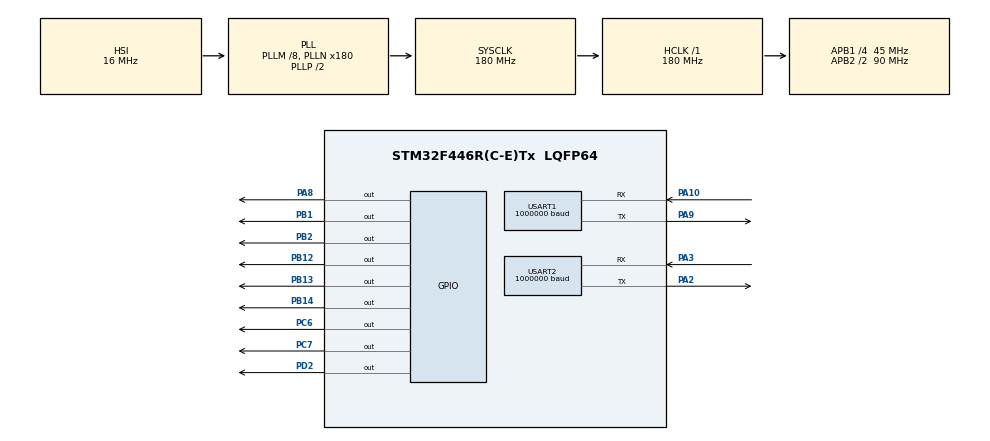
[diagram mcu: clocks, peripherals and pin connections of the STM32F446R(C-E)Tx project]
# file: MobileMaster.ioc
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Dma.Request0=USART1_RX
Dma.Request1=USART1_TX
Dma.Request2=USART2_RX
Dma.Request3=USART2_TX
Dma.USART1_RX.0.Direction=DMA_PERIPH_TO_MEMORY
Dma.USART1_RX.0.FIFOMode=DMA_FIFOMODE_DISABLE
Dma.USART1_RX.0.Instance=DMA2_Stream2
Dma.USART1_RX.0.MemDataAlignment=DMA_MDATAALIGN_BYTE
Dma.USART1_RX.0.MemInc=DMA_MINC_ENABLE
Dma.USART1_RX.0.Mode=DMA_NORMAL
Dma.USART1_RX.0.PeriphDataAlignment=DMA_PDATAALIGN_BYTE
Dma.USART1_RX.0.PeriphInc=DMA_PINC_DISABLE
Dma.USART1_RX.0.Priority=DMA_PRIORITY_LOW
Dma.USART1_TX.1.Direction=DMA_MEMORY_TO_PERIPH
Dma.USART1_TX.1.FIFOMode=DMA_FIFOMODE_DISABLE
Dma.USART1_TX.1.Instance=DMA2_Stream7
Dma.USART1_TX.1.MemDataAlignment=DMA_MDATAALIGN_BYTE
Dma.USART1_TX.1.MemInc=DMA_MINC_ENABLE
Dma.USART1_TX.1.Mode=DMA_NORMAL
Dma.USART1_TX.1.PeriphDataAlignment=DMA_PDATAALIGN_BYTE
Dma.USART1_TX.1.PeriphInc=DMA_PINC_DISABLE
Dma.USART1_TX.1.Priority=DMA_PRIORITY_LOW
Dma.USART2_RX.2.Direction=DMA_PERIPH_TO_MEMORY
Dma.USART2_RX.2.FIFOMode=DMA_FIFOMODE_DISABLE
Dma.USART2_RX.2.Instance=DMA1_Stream5
Dma.USART2_RX.2.MemDataAlignment=DMA_MDATAALIGN_BYTE
Dma.USART2_RX.2.MemInc=DMA_MINC_ENABLE
Dma.USART2_RX.2.Mode=DMA_NORMAL
Dma.USART2_RX.2.PeriphDataAlignment=DMA_PDATAALIGN_BYTE
Dma.USART2_RX.2.PeriphInc=DMA_PINC_DISABLE
Dma.USART2_RX.2.Priority=DMA_PRIORITY_LOW
Dma.USART2_TX.3.Direction=DMA_MEMORY_TO_PERIPH
Dma.USART2_TX.3.FIFOMode=DMA_FIFOMODE_DISABLE
Dma.USART2_TX.3.Instance=DMA1_Stream6
Dma.USART2_TX.3.MemDataAlignment=DMA_MDATAALIGN_BYTE
Dma.USART2_TX.3.MemInc=DMA_MINC_ENABLE
Dma.USART2_TX.3.Mode=DMA_NORMAL
Dma.USART2_TX.3.PeriphDataAlignment=DMA_PDATAALIGN_BYTE
Dma.USART2_TX.3.PeriphInc=DMA_PINC_DISABLE
Dma.USART2_TX.3.Priority=DMA_PRIORITY_LOW
Mcu.Family=STM32F4
Mcu.Name=STM32F446R(C-E)Tx
Mcu.Package=LQFP64
NVIC.DMA1_Stream5_IRQn=true\:0\:0\:false\:false\:true\:false\:true
NVIC.DMA1_Stream6_IRQn=true\:0\:0\:false\:false\:true\:false\:true
NVIC.DMA2_Stream2_IRQn=true\:0\:0\:false\:false\:true\:false\:true
NVIC.DMA2_Stream7_IRQn=true\:0\:0\:false\:false\:true\:false\:true
NVIC.PriorityGroup=NVIC_PRIORITYGROUP_4
NVIC.TIM6_DAC_IRQn=true\:1\:0\:true\:false\:true\:true\:true
NVIC.USART1_IRQn=true\:0\:0\:false\:false\:true\:true\:true
NVIC.USART2_IRQn=true\:0\:0\:false\:false\:true\:true\:true
PA10.Mode=Asynchronous
PA10.Signal=USART1_RX
PA13.Signal=SYS_JTMS-SWDIO
PA14.Signal=SYS_JTCK-SWCLK
PA2.Mode=Asynchronous
PA2.Signal=USART2_TX
PA3.Mode=Asynchronous
PA3.Signal=USART2_RX
PA8.Signal=GPIO_Output
PA9.GPIO_Speed=GPIO_SPEED_FREQ_VERY_HIGH
PA9.Mode=Asynchronous
PA9.Signal=USART1_TX
PB1.PinState=GPIO_PIN_RESET
PB1.Signal=GPIO_Output
PB12.Signal=GPIO_Output
PB13.Signal=GPIO_Output
PB14.Signal=GPIO_Output
PB2.PinState=GPIO_PIN_SET
PB2.Signal=GPIO_Output
PC6.PinState=GPIO_PIN_SET
PC6.Signal=GPIO_Output
PC7.PinState=GPIO_PIN_SET
PC7.Signal=GPIO_Output
PD2.Signal=GPIO_Output
PH0-OSC_IN.Mode=HSE-External-Oscillator
PH0-OSC_IN.Signal=RCC_OSC_IN
PH1-OSC_OUT.Mode=HSE-External-Oscillator
PH1-OSC_OUT.Signal=RCC_OSC_OUT
ProjectManager.HeapSize=0x200
ProjectManager.StackSize=0x400
ProjectManager.TargetToolchain=STM32CubeIDE
RCC.AHBFreq_Value=180000000
RCC.APB1CLKDivider=RCC_HCLK_DIV4
RCC.APB1Freq_Value=45000000
RCC.APB1TimCLKDivider=2
RCC.APB1TimFreq_Value=90000000
RCC.APB2CLKDivider=RCC_HCLK_DIV2
RCC.APB2Freq_Value=90000000
RCC.APB2TimCLKDivider=2
RCC.APB2TimFreq_Value=180000000
RCC.CortexFreq_Value=180000000
RCC.HCLKFreq_Value=180000000
RCC.HSE_VALUE=16000000
RCC.PLLM=8
RCC.PLLN=180
RCC.SYSCLKFreq_VALUE=180000000
RCC.SYSCLKSource=RCC_SYSCLKSOURCE_PLLCLK
RCC.USBFreq_Value=180000000
RCC.VCOOutputFreq_Value=360000000
TIM6.Period=1000-1
TIM6.Prescaler=90-1
USART1.BaudRate=1000000
USART1.StopBits=STOPBITS_1
USART1.VirtualMode=VM_ASYNC
USART1.WordLength=WORDLENGTH_8B
USART2.BaudRate=1000000
USART2.VirtualMode=VM_ASYNC
VP_TIM6_VS_ClockSourceINT.Mode=Enable_Timer
board=custom

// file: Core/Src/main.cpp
/* USER CODE BEGIN Header */
/**
 ******************************************************************************
 * @file           : main.cpp
 * @brief          : Main program body
 ******************************************************************************
 * @attention
 *
 * <h2><center>&copy; Copyright (c) 2021 STMicroelectronics.
 * All rights reserved.</center></h2>
 *
 * This software component is licensed by ST under BSD 3-Clause license,
 * the "License"; You may not use this file except in compliance with the
 * License. You may obtain a copy of the License at:
 *                        opensource.org/licenses/BSD-3-Clause
 *
 ******************************************************************************
 */
/* USER CODE END Header */
#include "main.h"
#include "dma.h"
#include "tim.h"
#include "usart.h"
#include "gpio.h"

/* USER CODE BEGIN Includes */
#define DELAY_BETWEEN_DXL_PACKET 0.003 //0.01:20Hz
#include "../../ScueDK/scuedk_embedded/master/MasterSerialLine.h"
#include "../../ScueDK/structs/structs.h"
#include "../../Sequence/inc/sequence.h"

using namespace scue;
using namespace seq;
/* USER CODE END Includes */

/* USER CODE BEGIN PV */

int loopCnt;
int sequenceCnt=0;
double currentTime;
uint8_t uart1RxBuffer;
uint8_t uart2RxBuffer;
MasterSerialLine serial;
bool manipulatorRelay = true, baseRelay = true;
Master m;
vector<uint8_t> packet;

/* USER CODE END PV */

void SystemClock_Config(void);

int main(void)
{
  /* USER CODE BEGIN 1 */
	initMaster(&m);

	Sequence initSequence
	(
		"initDxl",
		make_shared<block::Function>([&]
		{
			serial.setActive(false);
			initManipulator(&m.manipulator);
		}),
		make_shared<block::Function>([&]
		{
			//set MX64 velocity profile to non-zero value to enable acceleration profile
			packet.clear();
			packet.push_back(0xFF);
			packet.push_back(0xFF);
			packet.push_back(0xFD);
			packet.push_back(0x00);
			packet.push_back(0xFE);
			packet.push_back(0);	//length placeholder. valid value is set by setLength()
			packet.push_back(0);	//length placeholder. valid value is set by setLength()
			packet.push_back(0x93);
			//id13
			packet.push_back(13);
			packet.push_back(112);
			packet.push_back(0);
			packet.push_back(4);
			packet.push_back(0);
			Util::attachByteArray(packet, 32767, 4);
			//id14
			packet.push_back(14);
			packet.push_back(112);
			packet.push_back(0);
			packet.push_back(4);
			packet.push_back(0);
			Util::attachByteArray(packet, 32767, 4);
			//id15
			packet.push_back(15);
			packet.push_back(112);
			packet.push_back(0);
			packet.push_back(4);
			packet.push_back(0);
			Util::attachByteArray(packet, 32767, 4);

			Util::setLength(packet);
			Util::attachCRC(packet);
			HAL_UART_Transmit(&huart2, &packet[0], packet.size(),1);
		}),
		make_shared<block::Delay>(DELAY_BETWEEN_DXL_PACKET),
		make_shared<block::Function>([&]
		{
			//enable mx64s' torque
			packet.clear();
			packet.push_back(0xFF);
			packet.push_back(0xFF);
			packet.push_back(0xFD);
			packet.push_back(0x00);
			packet.push_back(0xFE);
			packet.push_back(0);	//length placeholder. valid value is set by setLength()
			packet.push_back(0);	//length placeholder. valid value is set by setLength()
			packet.push_back(0X93);
			//id10
			packet.push_back(10);
			packet.push_back(0);
			packet.push_back(2);
			packet.push_back(1);
			packet.push_back(0);
			packet.push_back(1);
			//id11
			packet.push_back(11);
			packet.push_back(0);
			packet.push_back(2);
			packet.push_back(1);
			packet.push_back(0);
			packet.push_back(1);
			//id12
			packet.push_back(12);
			packet.push_back(0);
			packet.push_back(2);
			packet.push_back(1);
			packet.push_back(0);
			packet.push_back(1);
			//id13
			packet.push_back(13);
			packet.push_back(64);
			packet.push_back(0);
			packet.push_back(1);
			packet.push_back(0);
			packet.push_back(1);
			//id14
			packet.push_back(14);
			packet.push_back(64);
			packet.push_back(0);
			packet.push_back(1);
			packet.push_back(0);
			packet.push_back(1);
			//id15
			packet.push_back(15);
			packet.push_back(64);
			packet.push_back(0);
			packet.push_back(1);
			packet.push_back(0);
			packet.push_back(1);
			//id16
			packet.push_back(16);
			packet.push_back(64);
			packet.push_back(0);
			packet.push_back(1);
			packet.push_back(0);
			packet.push_back(1);

			Util::setLength(packet);
			Util::attachCRC(packet);
			HAL_UART_Transmit(&huart2, &packet[0], packet.size(),1);
		}),
		make_shared<block::Delay>(DELAY_BETWEEN_DXL_PACKET),
		make_shared<block::StartSequence>("dxl")
	);

	initSequence.compile();
	initSequence.start();

	Sequence dxlSequence
	(
		"dxl",
		make_shared<block::Function>([&]
		{
			serial.setActive(false);
		}),
		make_shared<block::Function>([&]
		{
			//set pro acceleration
			packet.clear();
			packet.push_back(0xFF);
			packet.push_back(0xFF);
			packet.push_back(0xFD);
			packet.push_back(0x00);
			packet.push_back(0xFE);
			packet.push_back(0);	//length placeholder. valid value is set by setLength()
			packet.push_back(0);	//length placeholder. valid value is set by setLength()
			packet.push_back(0x93);
			//id10
			packet.push_back(10);
			packet.push_back(0x2C);
			packet.push_back(0x02);
			packet.push_back(4);
			packet.push_back(0);
			Util::attachByteArray(packet, m.manipulator.targetAcceleration[0]*9.549296596425384, 4);
			//id11
			packet.push_back(11);
			packet.push_back(0x2C);
			packet.push_back(0x02);
			packet.push_back(4);
			packet.push_back(0);
			Util::attachByteArray(packet, m.manipulator.targetAcceleration[1]*9.549296596425384, 4);
			//id12
			packet.push_back(12);
			packet.push_back(0x2C);
			packet.push_back(0x02);
			packet.push_back(4);
			packet.push_back(0);
			Util::attachByteArray(packet, m.manipulator.targetAcceleration[2]*9.549296596425384, 4);

			Util::setLength(packet);
			Util::attachCRC(packet);
			HAL_UART_Transmit(&huart2, &packet[0], packet.size(),1);
		}),
		make_shared<block::Delay>(DELAY_BETWEEN_DXL_PACKET),
		make_shared<block::Function>([&]
		{
			//set MX64 acceleration
			packet.clear();
			packet.push_back(0xFF);
			packet.push_back(0xFF);
			packet.push_back(0xFD);
			packet.push_back(0x00);
			packet.push_back(0xFE);
			packet.push_back(0);	//length placeholder. valid value is set by setLength()
			packet.push_back(0);	//length placeholder. valid value is set by setLength()
			packet.push_back(0x93);
			//id13
			packet.push_back(13);
			packet.push_back(0X6C);
			packet.push_back(0);
			packet.push_back(4);
			packet.push_back(0);
			Util::attachByteArray(packet, m.manipulator.targetAcceleration[3], 4);
			//id14
			packet.push_back(14);
			packet.push_back(0x6C);
			packet.push_back(0);
			packet.push_back(4);
			packet.push_back(0);
			Util::attachByteArray(packet, m.manipulator.targetAcceleration[4], 4);
			//id15
			packet.push_back(15);
			packet.push_back(0X6C);
			packet.push_back(0);
			packet.push_back(4);
			packet.push_back(0);
			Util::attachByteArray(packet, m.manipulator.targetAcceleration[5], 4);

			Util::setLength(packet);
			Util::attachCRC(packet);
			HAL_UART_Transmit(&huart2, &packet[0], packet.size(),1);
		}),
		make_shared<block::Delay>(DELAY_BETWEEN_DXL_PACKET),
		make_shared<block::Function>([&]
		{
			//bulk write to mx64s
			packet.clear();
			packet.push_back(0xFF);
			packet.push_back(0xFF);
			packet.push_back(0xFD);
			packet.push_back(0x00);
			packet.push_back(0xFE);
			packet.push_back(0);	//length placeholder. valid value is set by setLength()
			packet.push_back(0);	//length placeholder. valid value is set by setLength()
			packet.push_back(0x93);
			//id13
			packet.push_back(13);
			packet.push_back(116);
			packet.push_back(0);
			packet.push_back(4);
			packet.push_back(0);
			Util::attachByteArray(packet, (int)Util::map(m.manipulator.targetPosition[3], -90, 90, 1024, 3072), 4);
			//id14
			packet.push_back(14);
			packet.push_back(116);
			packet.push_back(0);
			packet.push_back(4);
			packet.push_back(0);
			Util::attachByteArray(packet, (int)Util::map(m.manipulator.targetPosition[4], -90, 90, 1024, 3072), 4);
			//id15
			packet.push_back(15);
			packet.push_back(116);
			packet.push_back(0);
			packet.push_back(4);
			packet.push_back(0);
			Util::attachByteArray(packet, (int)Util::map(m.manipulator.targetPosition[5], -90, 90, 1024, 3072), 4);
			//id16 : gripper
			packet.push_back(16);
			packet.push_back(102);
			packet.push_back(0);
			packet.push_back(2);
			packet.push_back(0);
			Util::attachByteArray(packet, (int)Util::map(m.manipulator.gripperTargetCurrent, -4, 4, -1193 , 1193), 4);

			Util::setLength(packet);
			Util::attachCRC(packet);
			HAL_UART_Transmit(&huart2, &packet[0], packet.size(),1);
		}),
		make_shared<block::Delay>(DELAY_BETWEEN_DXL_PACKET),
		make_shared<block::Function>([&]
		{
			//bulk write to pros
			packet.clear();
			packet.push_back(0xFF);
			packet.push_back(0xFF);
			packet.push_back(0xFD);
			packet.push_back(0x00);
			packet.push_back(0xFE);
			packet.push_back(0);	//length placeholder. valid value is set by setLength()
			packet.push_back(0);	//length placeholder. valid value is set by setLength()
			packet.push_back(0x93);
			//id10
			packet.push_back(10);
			packet.push_back(0x34);
			packet.push_back(0x02);
			packet.push_back(4);
			packet.push_back(0);
			Util::attachByteArray(packet, (int)Util::map(m.manipulator.targetPosition[0], -180, 180, -251417, 251417), 4);
			//id11
			packet.push_back(11);
			packet.push_back(0x34);
			packet.push_back(0x02);
			packet.push_back(4);
			packet.push_back(0);
			Util::attachByteArray(packet, (int)Util::map(m.manipulator.targetPosition[1], -180, 180, -501923, 501923), 4);
			//id12
			packet.push_back(12);
			packet.push_back(0x34);
			packet.push_back(0x02);
			packet.push_back(4);
			packet.push_back(0);
			Util::attachByteArray(packet, (int)Util::map(m.manipulator.targetPosition[2], -180, 180, -501923, 501923), 4);

			Util::setLength(packet);
			Util::attachCRC(packet);
			HAL_UART_Transmit(&huart2, &packet[0], packet.size(),1);
		}),
		make_shared<block::Delay>(DELAY_BETWEEN_DXL_PACKET),
		make_shared<block::Function>([&]
		{
			serial.setActive(true);
			serial.jumpToUplink();
			sequenceCnt++;
		})
	);

	dxlSequence.compile();

	serial.setExternalCallback([&]
	{
		Sequence* dxmseq = Sequence::getSequenceByName("dxl");
		if(dxmseq!=nullptr && !dxmseq->isRunning())dxmseq->start();
	});

	serial.setCycleCallback([&]
	{
		if(m.masterTweak.initManipulatorTrigger)
		{
			m.masterTweak.initManipulatorTrigger = false;
			Sequence* initDxlSeq = Sequence::getSequenceByName("initDxl");
			if(initDxlSeq!=nullptr && !initDxlSeq->isRunning()) initDxlSeq->start();
		}
	});
  /* USER CODE END 1 */

  /* MCU Configuration--------------------------------------------------------*/

  /* Reset of all peripherals, Initializes the Flash interface and the Systick. */
  HAL_Init();

  /* Configure the system clock */
  SystemClock_Config();

  /* Initialize all configured peripherals */
  MX_GPIO_Init();
  MX_DMA_Init();
  MX_USART1_UART_Init();
  MX_TIM6_Init();
  MX_USART2_UART_Init();
  /* USER CODE BEGIN 2 */
	serial.init((uint8_t*)&m,sizeof(Master), 1, &huart1, &huart2);
	serial.addSlave(MasterSerialLine::Slave(1, (uint8_t*)&m.flipperController - (uint8_t*)&m, sizeof(m.flipperController), false));
	serial.addSlave(MasterSerialLine::Slave(2, (uint8_t*)&m.trackController - (uint8_t*)&m, sizeof(m.trackController), false));
	serial.addSlave(MasterSerialLine::Slave(3, (uint8_t*)&m.manipulator - (uint8_t*)&m, sizeof(m.manipulator), true));
	serial.addSlave(MasterSerialLine::Slave(4, (uint8_t*)&m.masterTweak - (uint8_t*)&m, sizeof(m.masterTweak), true));

	HAL_UART_Receive_DMA(&huart1, &uart1RxBuffer, 1);
	HAL_UART_Receive_DMA(&huart2, &uart2RxBuffer, 1);
	HAL_TIM_Base_Start_IT(&htim6);

  /* USER CODE END 2 */

  /* Infinite loop */
	while (1)
	{

    /* USER CODE BEGIN 3 */
		//HAL_UART_Receive_DMA(&huart3, &rxBuffer, 1);
	}
  /* USER CODE END 3 */
}

void SystemClock_Config(void)
{
  RCC_OscInitTypeDef RCC_OscInitStruct = {0};
  RCC_ClkInitTypeDef RCC_ClkInitStruct = {0};

  /** Configure the main internal regulator output voltage
  */
  __HAL_RCC_PWR_CLK_ENABLE();
  __HAL_PWR_VOLTAGESCALING_CONFIG(PWR_REGULATOR_VOLTAGE_SCALE1);
  /** Initializes the RCC Oscillators according to the specified parameters
  * in the RCC_OscInitTypeDef structure.
  */
  RCC_OscInitStruct.OscillatorType = RCC_OSCILLATORTYPE_HSI;
  RCC_OscInitStruct.HSIState = RCC_HSI_ON;
  RCC_OscInitStruct.HSICalibrationValue = RCC_HSICALIBRATION_DEFAULT;
  RCC_OscInitStruct.PLL.PLLState = RCC_PLL_ON;
  RCC_OscInitStruct.PLL.PLLSource = RCC_PLLSOURCE_HSI;
  RCC_OscInitStruct.PLL.PLLM = 8;
  RCC_OscInitStruct.PLL.PLLN = 180;
  RCC_OscInitStruct.PLL.PLLP = RCC_PLLP_DIV2;
  RCC_OscInitStruct.PLL.PLLQ = 2;
  RCC_OscInitStruct.PLL.PLLR = 2;
  if (HAL_RCC_OscConfig(&RCC_OscInitStruct) != HAL_OK)
  {
    Error_Handler();
  }
  /** Activate the Over-Drive mode
  */
  if (HAL_PWREx_EnableOverDrive() != HAL_OK)
  {
    Error_Handler();
  }
  /** Initializes the CPU, AHB and APB buses clocks
  */
  RCC_ClkInitStruct.ClockType = RCC_CLOCKTYPE_HCLK|RCC_CLOCKTYPE_SYSCLK
                              |RCC_CLOCKTYPE_PCLK1|RCC_CLOCKTYPE_PCLK2;
  RCC_ClkInitStruct.SYSCLKSource = RCC_SYSCLKSOURCE_PLLCLK;
  RCC_ClkInitStruct.AHBCLKDivider = RCC_SYSCLK_DIV1;
  RCC_ClkInitStruct.APB1CLKDivider = RCC_HCLK_DIV4;
  RCC_ClkInitStruct.APB2CLKDivider = RCC_HCLK_DIV2;

  if (HAL_RCC_ClockConfig(&RCC_ClkInitStruct, FLASH_LATENCY_5) != HAL_OK)
  {
    Error_Handler();
  }
}

/* USER CODE BEGIN 4 */

void HAL_TIM_PeriodElapsedCallback(TIM_HandleTypeDef *htim)
{
	loopCnt++;
	serial.update();
	Sequence::spinOnce(0.001);
}

void HAL_UART_RxCpltCallback(UART_HandleTypeDef *huart)
{
	if(huart->Instance == huart1.Instance)//PC SIDE
	{
		serial.pushPcRx(uart1RxBuffer);
		HAL_UART_Receive_DMA(&huart1, &uart1RxBuffer, 1);
	}
	if(huart->Instance == huart2.Instance)//SLAVE SIDE
	{
		serial.pushSlaveRx(uart2RxBuffer);
		HAL_UART_Receive_DMA(&huart2, &uart2RxBuffer, 1);
	}
}

void HAL_UART_TxCpltCallback(UART_HandleTypeDef *huart)
{
	if(huart->Instance == huart1.Instance)
	{
		HAL_UART_Receive_DMA(&huart1, &uart1RxBuffer, 1);
	}
	if(huart->Instance == huart2.Instance)
	{
		HAL_UART_Receive_DMA(&huart2, &uart2RxBuffer, 1);
	}
}

void HAL_UART_ErrorCallback(UART_HandleTypeDef *huart)
{
	if(huart->Instance == huart1.Instance)
	{
		HAL_UART_DeInit(&huart1);
		MX_USART1_UART_Init();
		HAL_UART_Receive_DMA(&huart1, &uart1RxBuffer, 1);
	}
	if(huart->Instance == huart2.Instance)
	{
		HAL_UART_DeInit(&huart2);
		MX_USART2_UART_Init();
		HAL_UART_Receive_DMA(&huart2, &uart2RxBuffer, 1);
	}
}

/* USER CODE END 4 */

void Error_Handler(void)
{
	__disable_irq();
	while (1)
	{
	}
}

/************************ (C) COPYRIGHT STMicroelectronics *****END OF FILE****/
